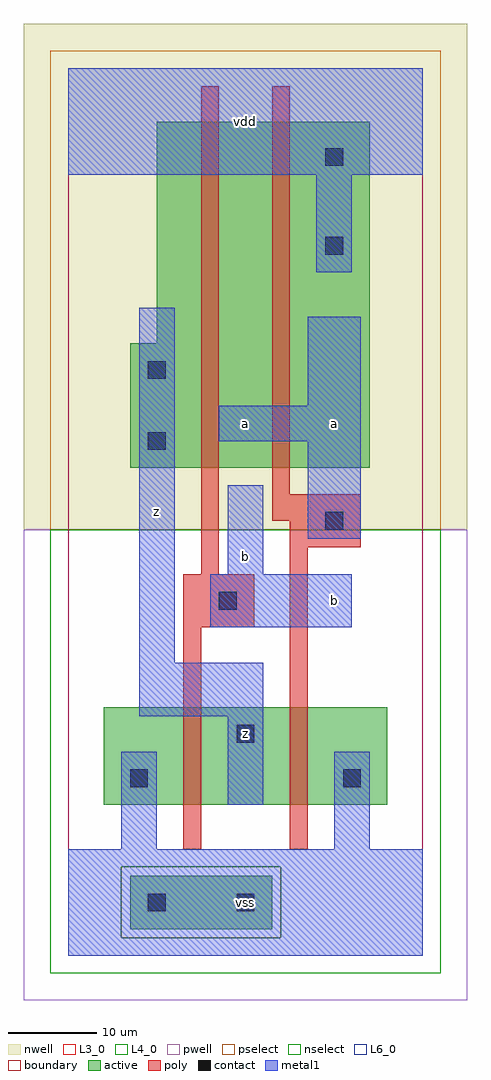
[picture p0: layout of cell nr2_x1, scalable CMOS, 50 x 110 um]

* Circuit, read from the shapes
.subckt nr2_x1 a b vdd vss z
M1 z b vss vss nfet w=11u l=2u
M2 vss a z vss nfet w=11u l=2u
M3 n1 b z n2 pfet w=39u l=2u
M4 vdd a n1 n2 pfet w=39u l=2u
.ends

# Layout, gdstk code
import gdstk
lib = gdstk.Library(unit=1e-6, precision=1e-09)
def R(c, l, rs):  # rectangles x0, y0, x1, y1
    for r in rs: c.add(gdstk.rectangle(r[:2], r[2:], *l))
L3_0 = (3, 0)
L4_0 = (4, 0)
L6_0 = (6, 0)
contact = (25, 0)
pwell = (41, 0)
nwell = (42, 0)
active = (43, 0)
pselect = (44, 0)
nselect = (45, 0)
poly = (46, 0)
metal1 = (49, 0)
boundary = (63, 0)

nr2_x1 = lib.new_cell('nr2_x1')
R(nr2_x1, L3_0, [(4,17,36,28)])
R(nr2_x1, L4_0, [(7,55,34,69), (10,69,34,94)])
R(nr2_x1, L6_0, [(7,3,23,9)])
R(nr2_x1, contact, [(9,5,11,7), (19,5,21,7), (7,19,9,21), (31,19,33,21), (19,24,21,26), (17,39,19,41), (29,48,31,50), (9,57,11,59), (9,65,11,67), (29,79,31,81), (29,89,31,91)])
R(nr2_x1, pwell, [(-5,-5,45,48)])
R(nr2_x1, nwell, [(-5,48,45,105)])
R(nr2_x1, active, [(7,3,23,9), (4,17,36,28), (7,55,34,69), (10,69,34,94)])
R(nr2_x1, pselect, [(6,2,24,10), (-2,48,42,102)])
R(nr2_x1, nselect, [(-2,-2,42,2), (-2,2,6,10), (24,2,42,10), (-2,10,42,48)])
R(nr2_x1, poly, [(13,12,15,37), (25,12,27,46), (13,37,21,43), (15,43,17,98), (25,46,33,49), (23,49,33,52), (23,52,25,98)])
R(nr2_x1, metal1, [(0,0,40,12), (6,12,10,23), (30,12,34,23), (18,17,22,27), (8,27,22,33), (8,33,12,73), (16,37,32,43), (18,43,22,53), (27,47,33,58), (17,58,33,62), (27,62,33,72), (28,77,32,88), (0,88,40,100)])
R(nr2_x1, boundary, [(0,0,40,100)])
nr2_x1.add(gdstk.Label('z', (10,50), layer=49, texttype=0))
nr2_x1.add(gdstk.Label('vss', (20,6), layer=49, texttype=0))
nr2_x1.add(gdstk.Label('z', (20,25), layer=49, texttype=0))
nr2_x1.add(gdstk.Label('b', (20,45), layer=49, texttype=0))
nr2_x1.add(gdstk.Label('a', (20,60), layer=49, texttype=0))
nr2_x1.add(gdstk.Label('vdd', (20,94), layer=49, texttype=0))
nr2_x1.add(gdstk.Label('b', (30,40), layer=49, texttype=0))
nr2_x1.add(gdstk.Label('a', (30,60), layer=49, texttype=0))

lib.write_gds('nr2_x1.gds')
